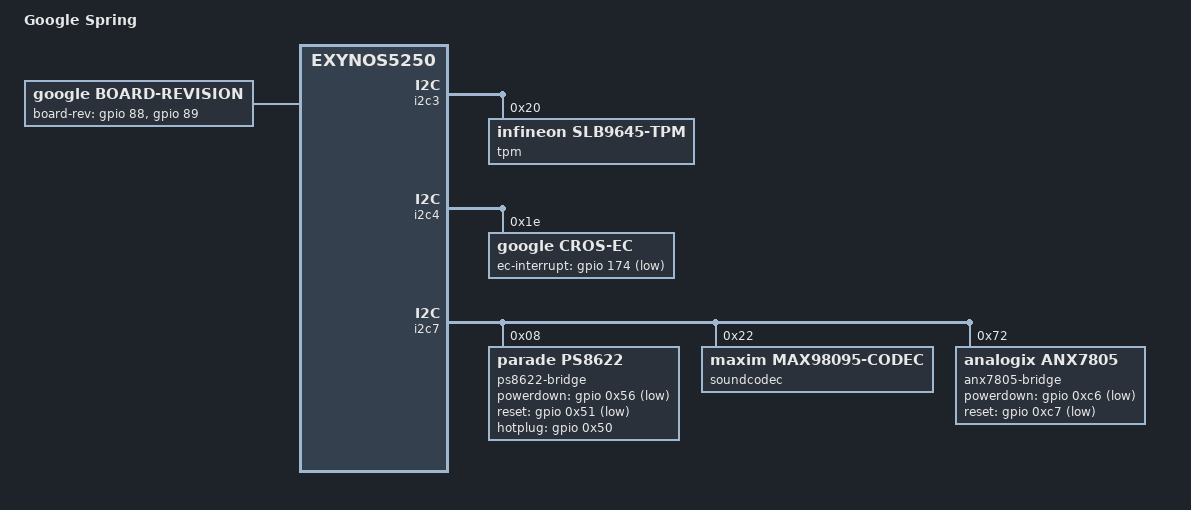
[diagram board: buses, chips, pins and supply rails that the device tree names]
/*
 * Google Snow board device tree source
 *
 * Copyright (c) 2012 Google, Inc
 *
 * This program is free software; you can redistribute it and/or modify
 * it under the terms of the GNU General Public License version 2 as
 * published by the Free Software Foundation.
*/

/dts-v1/;
/include/ "exynos5250.dtsi"
/include/ "flashmap-exynos-ro.dtsi"
/include/ "flashmap-4mb-rw.dtsi"
/include/ "chromeos-exynos.dtsi"
/include/ "cros5250-common.dtsi"

/ {
	model = "Google Spring";
	compatible = "google,spring", "google,daisy", "samsung,smdk5250",
		   "samsung,exynos5250";

	aliases {
		sdmmc1 = "/mshci@12210000";
	};

	board-rev {
		compatible = "google,board-revision";
		google,board-rev-gpios = <&gpio 88 0>, <&gpio 89 0>;
	};

	dmc@10C00000 {
		mem-manuf = "elpida";
	};

	i2c3: i2c@12c90000 {
		tpm@20 {
			reg = <0x20>;
			compatible = "infineon,slb9645-tpm";
		};
	};

	i2c4: i2c@12ca0000 {
		cros-ec@1e {
			reg = <0x1e>;
			compatible = "google,cros-ec";
			i2c-max-frequency = <100000>;
			ec-interrupt = <&gpio 174 1>;

			power-regulator@48 {
				compatible = "ti,tps65090";
				reg = <0x48>;
			};
		};
	};

	i2c7: i2c@12cd0000 {
		ps8622-bridge@8 {
			compatible = "parade,ps8622";
			reg = <0x8>;
			powerdown-gpio = <&gpio 0x56 1>;	/* C36 */
			reset-gpio = <&gpio 0x51 1>;		/* C31 */
			hotplug-gpio = <&gpio 0x50 0>;		/* C30 */
		};

		/* TODO(sjg@chromium.org): Probably should be 0x11 */
		soundcodec@22 {
			reg = <0x22>;
			compatible = "maxim,max98095-codec";
			mclk-pin = <2>;
		};

		anx7805-bridge@72 {
			compatible = "analogix,anx7805";
			reg = <0x72>;
			powerdown-gpio = <&gpio 0xc6 1>;	/* E06 */
			reset-gpio = <&gpio 0xc7 1>;		/* E07 */
		};
	};

	spi@131b0000 {
		spi-max-frequency = <1000000>;
		spi-deactivate-delay = <100>;
		mkbp@0 {
			reg = <0>;
			compatible = "google,mkbp";
			spi-max-frequency = <5000000>;
			ec-interrupt = <&gpio 174 1>;
			optimise-flash-write;
			status = "disabled";
		};
	};

	mshci@12210000 {
		samsung,sdhci-bus-width = <4>;
	};

	mshci@12220000 {
		/* MMC2 pins are used as GPIO for eDP bridge */
		status = "disabled";
	};

	mshci@12230000 {
		status = "disabled";
	};

	chrome-ec {
		compatible = "google,chrome-ec";
		flash@8000000 {
			reg = <0x08000000 0x20000>;
			erase-value = <0xff>;
		};
	};

	dp@145b0000 {
		samsung,interface = "edp";
	};

	ehci@12110000 {
		port-enable-mask = <0x02>;
	};

	sound@12d60000 {
		samsung,codec-type = "max98095";
	};

	hsichub@13400000 {
		compatible = "smsc,usb3503";
		reset-gpio = <&gpio 0xc8 0>;		/* E10 */
	};

};
